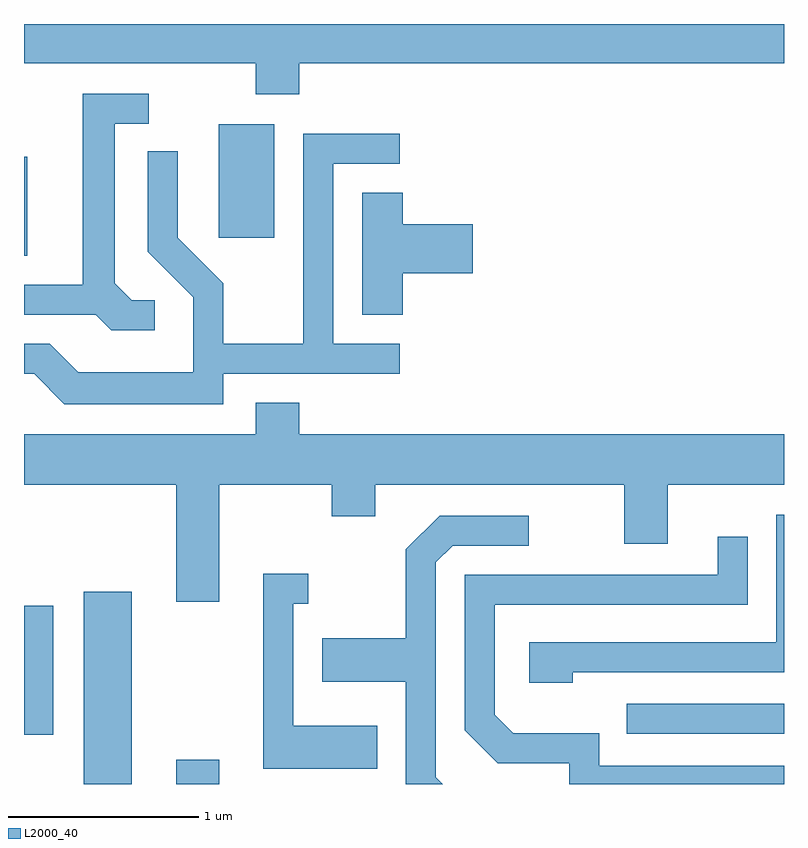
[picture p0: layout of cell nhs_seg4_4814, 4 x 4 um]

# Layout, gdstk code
import gdstk
lib = gdstk.Library(unit=1e-6, precision=1e-09)
def R(c, l, rs):  # rectangles x0, y0, x1, y1
    for r in rs: c.add(gdstk.rectangle(r[:2], r[2:], *l))
def P(c, l, *ps):  # polygons
    for p in ps: c.add(gdstk.Polygon(p, *l))
L2000_40 = (2000, 40)

nhs_seg4_4814 = lib.new_cell('nhs_seg4_4814')
R(nhs_seg4_4814, L2000_40, [(325.926,1361.982,326.179,1362.994), (326.411,1361.982,326.639,1362.109), (325.611,1362.241,325.764,1362.919), (328.783,1362.246,329.611,1362.404), (325.611,1364.761,325.629,1365.284), (326.636,1364.856,326.929,1365.454)])
P(nhs_seg4_4814, L2000_40, [(327.059,1365.776),(329.611,1365.776),(329.611,1365.982),(325.611,1365.982),(325.611,1365.776),(326.831,1365.776),(326.831,1365.611),(327.059,1365.611)],
  [(326.298,1364.529),(326.177,1364.529),(326.089,1364.617),(326.089,1365.456),(326.268,1365.456),(326.268,1365.614),(325.921,1365.614),(325.921,1364.609),(325.611,1364.609),(325.611,1364.451),(325.989,1364.451),(326.069,1364.371),(326.298,1364.371)],
  [(326.659,1364.141),(327.588,1364.141),(327.588,1364.299),(327.239,1364.299),(327.239,1365.246),(327.588,1365.246),(327.588,1365.404),(327.081,1365.404),(327.081,1364.299),(326.659,1364.299),(326.659,1364.617),(326.419,1364.857),(326.419,1365.313),(326.261,1365.313),(326.261,1364.784),(326.501,1364.544),(326.501,1364.149),(325.897,1364.149),(325.747,1364.299),(325.611,1364.299),(325.611,1364.141),(325.664,1364.141),(325.824,1363.981),(326.659,1363.981)],
  [(327.604,1364.671),(327.974,1364.671),(327.974,1364.929),(327.604,1364.929),(327.604,1365.094),(327.391,1365.094),(327.391,1364.451),(327.604,1364.451)],
  [(326.639,1363.556),(327.231,1363.556),(327.231,1363.391),(327.459,1363.391),(327.459,1363.556),(328.771,1363.556),(328.771,1363.246),(328.999,1363.246),(328.999,1363.556),(329.611,1363.556),(329.611,1363.824),(327.059,1363.824),(327.059,1363.989),(326.831,1363.989),(326.831,1363.824),(325.611,1363.824),(325.611,1363.556),(326.411,1363.556),(326.411,1362.941),(326.639,1362.941)],
  [(328.499,1362.571),(329.611,1362.571),(329.611,1363.399),(329.571,1363.399),(329.571,1362.729),(328.271,1362.729),(328.271,1362.516),(328.499,1362.516)],
  [(327.779,1362.017),(327.779,1363.149),(327.867,1363.236),(328.268,1363.236),(328.268,1363.394),(327.799,1363.394),(327.621,1363.217),(327.621,1362.749),(327.181,1362.749),(327.181,1362.521),(327.621,1362.521),(327.621,1361.982),(327.814,1361.982)],
  [(329.611,1362.079),(328.639,1362.079),(328.639,1362.249),(328.187,1362.249),(328.089,1362.347),(328.089,1362.926),(329.419,1362.926),(329.419,1363.283),(329.261,1363.283),(329.261,1363.084),(327.931,1363.084),(327.931,1362.264),(328.104,1362.091),(328.481,1362.091),(328.481,1361.982),(329.611,1361.982)],
  [(327.469,1362.289),(327.029,1362.289),(327.029,1362.931),(327.108,1362.931),(327.108,1363.089),(326.871,1363.089),(326.871,1362.061),(327.469,1362.061)])

lib.write_gds('nhs_seg4_4814.gds')
